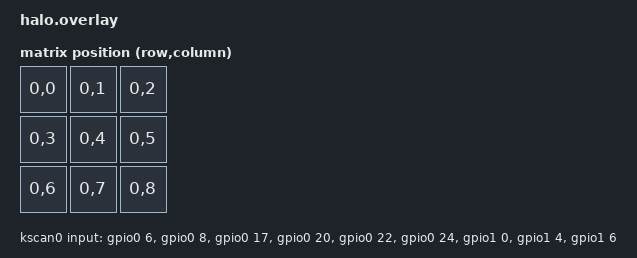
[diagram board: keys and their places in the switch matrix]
#include <dt-bindings/zmk/matrix-transform.h>

/ {
    chosen {
        zmk,kscan = &kscan0;
        zmk,matrix-transform = &default_transform;
    };

    default_transform: keymap_transform_0 {
        compatible = "zmk,matrix-transform";
        columns = <9>; // Number of direct pins total
        rows = <1>;
        map = <
            RC(0,0) RC(0,1) RC(0,2)
            RC(0,3) RC(0,4) RC(0,5)
            RC(0,6) RC(0,7) RC(0,8)
        >;
    };

    kscan0: kscan_direct {
        compatible = "zmk,kscan-gpio-direct";
        label = "KSCAN_DIRECT";
        input-gpios
            = <&gpio0 6  (GPIO_ACTIVE_LOW | GPIO_PULL_UP)> // Pin 1  ➔ Key 1 (Esc)
            , <&gpio0 8  (GPIO_ACTIVE_LOW | GPIO_PULL_UP)> // Pin 2  ➔ Key 2 (Shift)
            , <&gpio0 17 (GPIO_ACTIVE_LOW | GPIO_PULL_UP)> // Pin 7  ➔ Key 3 (Ctrl)
            , <&gpio0 20 (GPIO_ACTIVE_LOW | GPIO_PULL_UP)> // Pin 8  ➔ Key 4 (Macro: a)
            , <&gpio0 22 (GPIO_ACTIVE_LOW | GPIO_PULL_UP)> // Pin 9  ➔ Key 5 (Macro: d)
            , <&gpio0 24 (GPIO_ACTIVE_LOW | GPIO_PULL_UP)> // Pin 10 ➔ Key 6 (Macro: i)
            , <&gpio1 0  (GPIO_ACTIVE_LOW | GPIO_PULL_UP)> // Pin 11 ➔ Key 7 (Macro: Spare)
            , <&gpio1 4  (GPIO_ACTIVE_LOW | GPIO_PULL_UP)> // Pin 17 ➔ Key 8 (Thumb: Rotation Lock)
            , <&gpio1 6  (GPIO_ACTIVE_LOW | GPIO_PULL_UP)> // Pin 18 ➔ Key 9 (Thumb: View-Dance Switch)
            ;
    };
};
